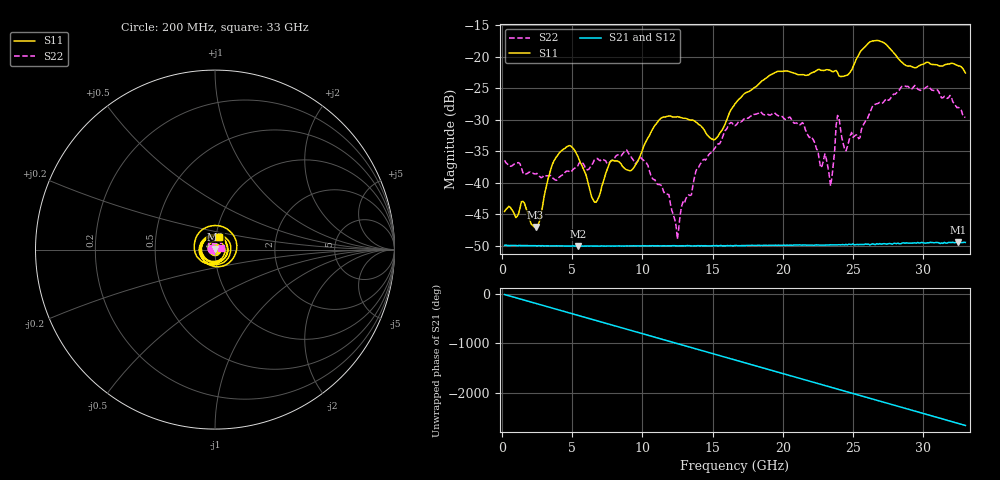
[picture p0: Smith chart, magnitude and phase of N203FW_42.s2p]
# GHZ S RI R 50
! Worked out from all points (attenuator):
!   329 points, 200 MHz to 33 GHz, reference 50 ohm
!   highest |S21| = -49.45 dB at 32.5 GHz (marker M1); lowest = -50.1 dB at 5.4 GHz (marker M2)
!   lowest |S11| = -47.0 dB at 2.4 GHz (marker M3), VSWR 1.01, Z = 50.3 + j0.363 ohm
!   |S11| at or under -10 dB: start of sweep to end of sweep
!   |S22| runs from -49.0 to -24.6 dB; largest |S21 - S12| = 8.8e-05
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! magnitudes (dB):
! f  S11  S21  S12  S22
! 200 MHz  -44.6  -50.0  -49.9  -36.5
! 2.4 GHz  -47.0  -50.0  -50.0  -38.6
! 3.8 GHz  -36.2  -50.0  -50.0  -39.6
! 5.4 GHz  -35.8  -50.1  -50.0  -37.4
! 5.7 GHz  -37.3  -50.1  -50.1  -36.8
! 6.7 GHz  -43.1  -50.1  -50.0  -36.2
! 7.7 GHz  -36.8  -50.1  -50.1  -36.7
! 9.3 GHz  -37.9  -50.0  -50.0  -36.2
! 11.2 GHz  -30.0  -50.0  -50.0  -40.3
! 11.9 GHz  -29.4  -50.0  -50.0  -41.9
! 12.5 GHz  -29.5  -50.0  -50.0  -49.0
! 13.9 GHz  -30.5  -50.0  -50.0  -37.7
! 15.1 GHz  -33.2  -50.0  -50.0  -34.7
! 16.6 GHz  -27.5  -50.0  -50.0  -31.0
! 19.4 GHz  -22.6  -50.0  -49.9  -28.9
! 22.1 GHz  -22.5  -49.9  -49.9  -32.9
! 23.4 GHz  -22.2  -49.9  -49.9  -40.5
! 23.9 GHz  -22.5  -49.9  -49.9  -29.3
! 24.5 GHz  -23.0  -49.8  -49.8  -35.0
! 27.6 GHz  -18.7  -49.7  -49.7  -26.9
! 32.5 GHz  -21.4  -49.5  -49.4  -28.0
! 33 GHz  -22.6  -49.5  -49.5  -29.6
